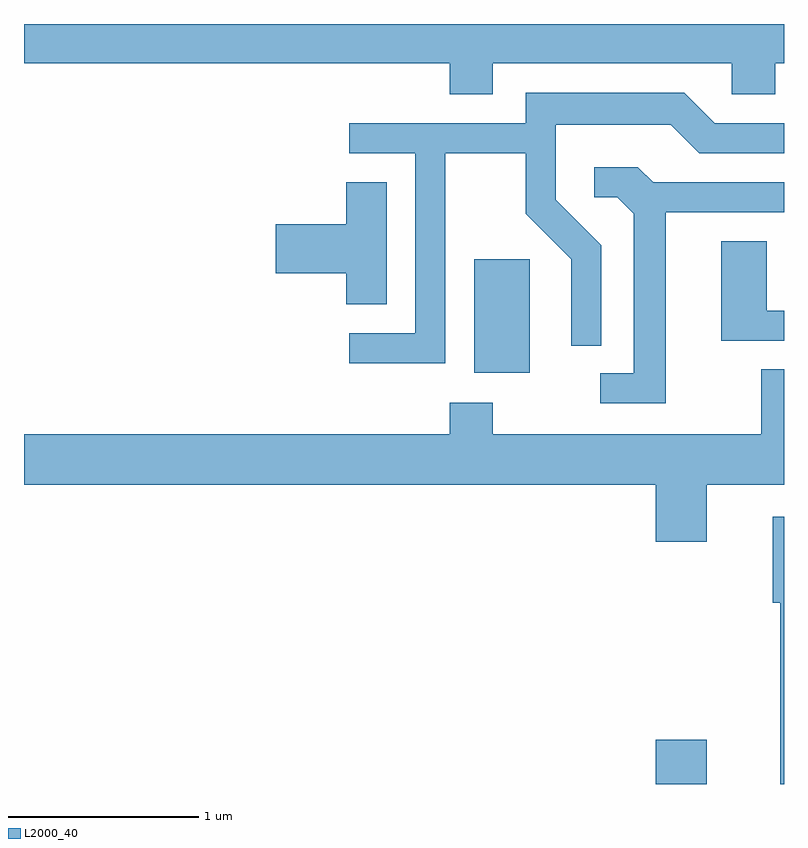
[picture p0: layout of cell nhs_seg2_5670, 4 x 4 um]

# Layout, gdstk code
import gdstk
lib = gdstk.Library(unit=1e-6, precision=1e-09)
def R(c, l, rs):  # rectangles x0, y0, x1, y1
    for r in rs: c.add(gdstk.rectangle(r[:2], r[2:], *l))
def P(c, l, *ps):  # polygons
    for p in ps: c.add(gdstk.Polygon(p, *l))
L2000_40 = (2000, 40)

nhs_seg2_5670 = lib.new_cell('nhs_seg2_5670')
R(nhs_seg2_5670, L2000_40, [(354.936,1097.802,355.204,1098.034), (353.981,1099.966,354.274,1100.564)])
P(nhs_seg2_5670, L2000_40, [(354.079,1101.596),(355.336,1101.596),(355.336,1101.431),(355.564,1101.431),(355.564,1101.596),(355.611,1101.596),(355.611,1101.802),(351.611,1101.802),(351.611,1101.596),(353.851,1101.596),(353.851,1101.431),(354.079,1101.431)],
  [(353.829,1101.121),(354.251,1101.121),(354.251,1100.804),(354.491,1100.564),(354.491,1100.108),(354.649,1100.108),(354.649,1100.637),(354.409,1100.877),(354.409,1101.271),(355.014,1101.271),(355.164,1101.121),(355.611,1101.121),(355.611,1101.279),(355.247,1101.279),(355.087,1101.439),(354.251,1101.439),(354.251,1101.279),(353.323,1101.279),(353.323,1101.121),(353.671,1101.121),(353.671,1100.174),(353.323,1100.174),(353.323,1100.016),(353.829,1100.016)],
  [(354.989,1100.811),(355.611,1100.811),(355.611,1100.969),(354.922,1100.969),(354.842,1101.049),(354.613,1101.049),(354.613,1100.891),(354.734,1100.891),(354.821,1100.804),(354.821,1099.964),(354.643,1099.964),(354.643,1099.806),(354.989,1099.806)],
  [(353.519,1100.969),(353.306,1100.969),(353.306,1100.749),(352.936,1100.749),(352.936,1100.491),(353.306,1100.491),(353.306,1100.326),(353.519,1100.326)],
  [(355.611,1100.294),(355.519,1100.294),(355.519,1100.659),(355.281,1100.659),(355.281,1100.136),(355.611,1100.136)],
  [(355.204,1099.376),(355.611,1099.376),(355.611,1099.984),(355.491,1099.984),(355.491,1099.644),(354.079,1099.644),(354.079,1099.809),(353.851,1099.809),(353.851,1099.644),(351.611,1099.644),(351.611,1099.376),(354.936,1099.376),(354.936,1099.076),(355.204,1099.076)],
  [(355.611,1099.209),(355.551,1099.209),(355.551,1098.756),(355.591,1098.756),(355.591,1097.802),(355.611,1097.802)])

lib.write_gds('nhs_seg2_5670.gds')
